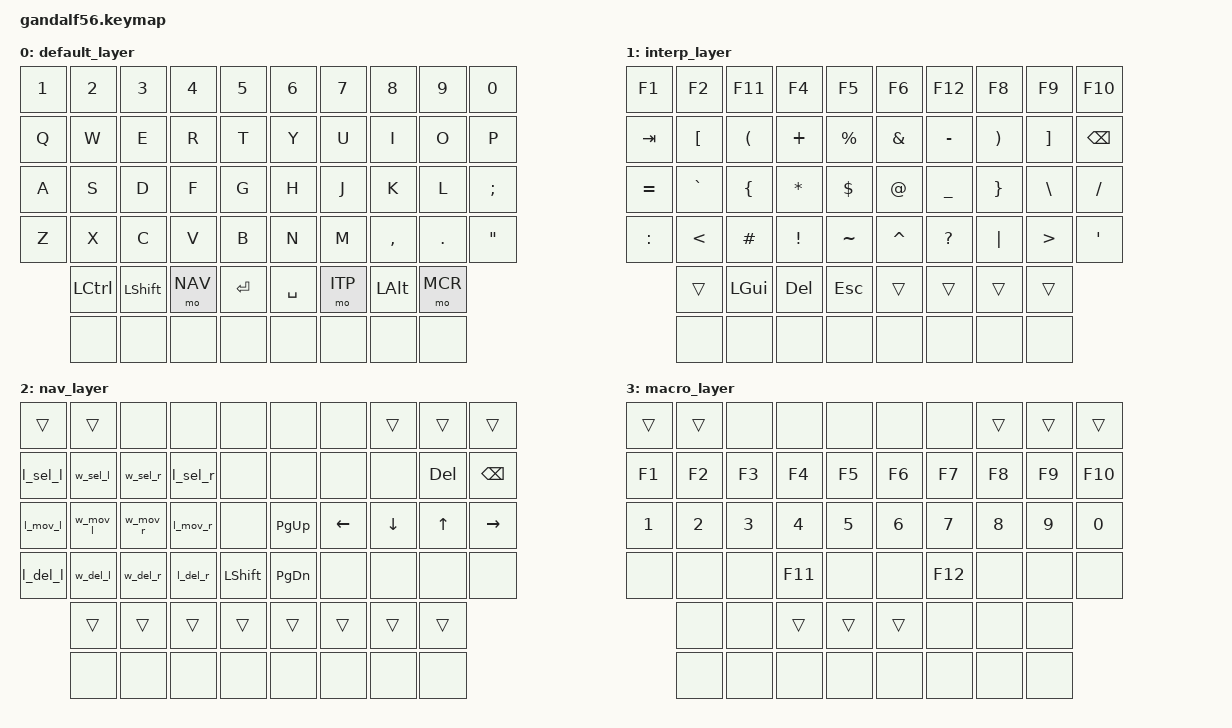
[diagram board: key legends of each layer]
/*
 * Copyright (c) 2022 The ZMK Contributors
 *
 * SPDX-License-Identifier: MIT
 */

#include <behaviors.dtsi>
#include <dt-bindings/zmk/keys.h>
#include <dt-bindings/zmk/backlight.h>
#include <dt-bindings/zmk/bt.h>
#include <dt-bindings/zmk/ext_power.h>
#include <dt-bindings/zmk/rgb.h>

#define DFT (0)
#define ITP (1)
#define NAV (2)
#define MCR (3)

/ {
    #include "shortcut_macros.dtsi"
    #include "nav_macros.dtsi"
    
    behaviors {
        hrm: home_row_mod {
            compatible = "zmk,behavior-hold-tap";
            #binding-cells = <2>;
            flavor = "balanced";
            tapping-term-ms = <250>;
            bindings = <&kp>, <&kp>;
            display-name = "Homerow-mod";
            hold-trigger-on-release;
            quick-tap-ms = <175>;
            require-prior-idle-ms = <110>;
        };
    };
    
    keymap {
        compatible = "zmk,keymap";
        

        
        default_layer {
            bindings = <
                &kp N1       &kp N2      &kp N3      &kp N4       &kp N5      &kp N6    &kp N7       &kp N8      &kp N9      &kp N0
                &kp Q        &kp W       &kp E       &kp R        &kp T       &kp Y     &kp U        &kp I       &kp O       &kp P
                &kp A        &kp S       &kp D       &kp F        &kp G       &kp H     &kp J        &kp K       &kp L       &kp SEMI
                &kp Z        &kp X       &kp C       &kp V        &kp B       &kp N     &kp M        &kp COMMA   &kp DOT     &kp DQT
                             &kp LCTRL   &kp LSHFT   &mo NAV      &kp ENTER   &kp SPACE &mo ITP      &kp LALT    &mo MCR
                             &none       &none       &none        &none       &none     &none        &none       &none
           >;
        };

        interp_layer {
            bindings = <
                &kp F1    &kp F2    &kp F11  &kp F4    &kp F5      &kp F6    &kp F12   &kp F8   &kp F9   &kp F10
                &kp TAB   &kp LBKT  &kp LPAR &kp PLUS  &kp PRCNT   &kp AMPS  &kp MINUS &kp RPAR &kp RBKT &kp BSPC
                &kp EQUAL &kp GRAVE &kp LBRC &kp ASTRK &kp DLLR    &kp AT    &kp UNDER &kp RBRC &kp BSLH &kp FSLH
                &kp COLON &kp LT    &kp HASH &kp EXCL  &kp TILDE   &kp CARET &kp QMARK &kp PIPE &kp GT   &kp SQT
                          &trans    &kp LGUI &kp DEL   &kp ESC     &trans    &trans    &trans   &trans
                          &none     &none    &none     &none       &none     &none     &none   &none
           >;
        };
        
        nav_layer {
            bindings = <
                &trans   &trans   &none    &none    &none      &none     &none    &trans   &trans  &trans
                &l_sel_l &w_sel_l &w_sel_r &l_sel_r &none      &none     &none    &none    &kp DEL &kp BSPC
                &l_mov_l &w_mov_l &w_mov_r &l_mov_r &none      &kp PG_UP &kp LEFT &kp DOWN &kp UP  &kp RIGHT
                &l_del_l &w_del_l &w_del_r &l_del_r &kp LSHFT  &kp PG_DN &none    &none    &none   &none
                         &trans   &trans   &trans   &trans     &trans    &trans   &trans   &trans
                         &none    &none    &none    &none      &none     &none    &none    &none
           >;
        };

        macro_layer {
            bindings = <
                &trans &trans &none  &none     &none     &none  &none   &trans &trans &trans
                &kp F1 &kp F2 &kp F3 &kp F4    &kp F5    &kp F6 &kp F7  &kp F8 &kp F9 &kp F10
                &kp N1 &kp N2 &kp N3 &kp N4    &kp N5    &kp N6 &kp N7  &kp N8 &kp N9 &kp N0
                &none  &none  &none  &kp F11   &none     &none  &kp F12 &none  &none  &none
                       &none  &none  &trans    &trans    &trans &none   &none  &none
                       &none  &none  &none     &none     &none  &none   &none  &none
           >;
        };
        //
        //    sensor-bindings = <&inc_dec_kp C_VOL_UP C_VOL_DN>;
    };
};
